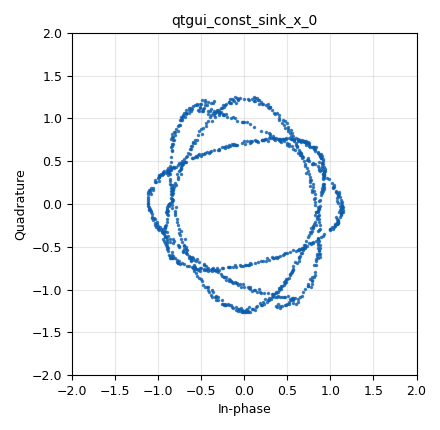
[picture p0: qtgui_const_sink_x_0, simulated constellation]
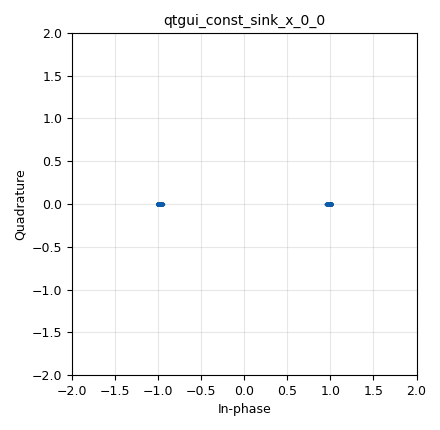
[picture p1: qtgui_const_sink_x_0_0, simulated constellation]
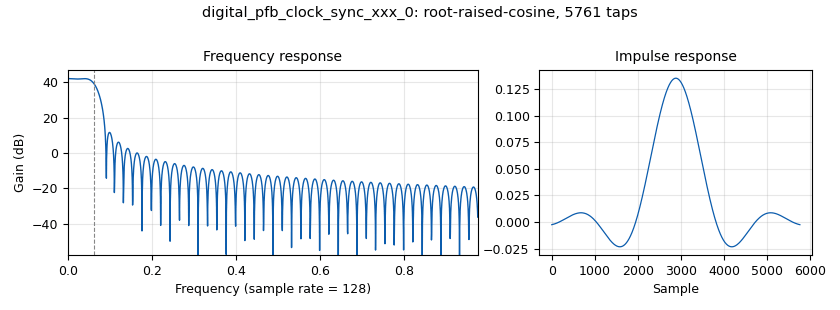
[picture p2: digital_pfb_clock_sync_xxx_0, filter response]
<?xml version='1.0' encoding='utf-8'?>
<?grc format='1' created='3.7.10'?>
<flow_graph>
<block>
<key>options</key>
<param><key>id</key><value>top_block</value></param>
<param><key>generate_options</key><value>qt_gui</value></param>
</block>
<block>
<key>variable_constellation</key>
<param><key>id</key><value>BPSK</value></param>
<param><key>const_points</key><value>[-1, 1]</value></param>
<param><key>type</key><value>calcdist</value></param>
<param><key>dims</key><value>1</value></param>
<param><key>rot_sym</key><value>4</value></param>
<param><key>precision</key><value>8</value></param>
<param><key>sym_map</key><value>[0, 1]</value></param>
</block>
<block>
<key>variable</key>
<param><key>id</key><value>freq_offset</value></param>
<param><key>value</key><value>0</value></param>
</block>
<block>
<key>variable</key>
<param><key>id</key><value>nfilts</value></param>
<param><key>value</key><value>128</value></param>
</block>
<block>
<key>variable_qtgui_range</key>
<param><key>id</key><value>noise_voltage</value></param>
<param><key>value</key><value>.063</value></param>
<param><key>gui_hint</key><value>0,1,1,1</value></param>
<param><key>orient</key><value>Qt.Horizontal</value></param>
<param><key>start</key><value>0.0</value></param>
<param><key>step</key><value>.001</value></param>
<param><key>stop</key><value>1</value></param>
</block>
<block>
<key>variable</key>
<param><key>id</key><value>rrc_taps</value></param>
<param><key>value</key><value>firdes.root_raised_cosine(nfilts, nfilts, 1.0/float(sps), 0.35, 45*nfilts)</value></param>
</block>
<block>
<key>variable</key>
<param><key>id</key><value>samp_rate</value></param>
<param><key>value</key><value>32000</value></param>
</block>
<block>
<key>variable</key>
<param><key>id</key><value>sps</value></param>
<param><key>value</key><value>8</value></param>
</block>
<block>
<key>variable_qtgui_range</key>
<param><key>id</key><value>timing_loop_bandwidth</value></param>
<param><key>value</key><value>.063</value></param>
<param><key>gui_hint</key><value>0,0,1,1</value></param>
<param><key>orient</key><value>Qt.Horizontal</value></param>
<param><key>start</key><value>.001</value></param>
<param><key>step</key><value>.001</value></param>
<param><key>stop</key><value>.2</value></param>
</block>
<block>
<key>analog_random_source_x</key>
<param><key>id</key><value>analog_random_source_x_0</value></param>
<param><key>max</key><value>256</value></param>
<param><key>min</key><value>0</value></param>
<param><key>num_samps</key><value>1000</value></param>
<param><key>type</key><value>byte</value></param>
<param><key>repeat</key><value>True</value></param>
</block>
<block>
<key>blocks_throttle</key>
<param><key>id</key><value>blocks_throttle_0</value></param>
<param><key>samples_per_second</key><value>samp_rate</value></param>
<param><key>type</key><value>byte</value></param>
</block>
<block>
<key>blocks_unpacked_to_packed_xx</key>
<param><key>id</key><value>blocks_unpacked_to_packed_xx_0</value></param>
<param><key>bits_per_chunk</key><value>1</value></param>
<param><key>_enabled</key><value>0</value></param>
<param><key>endianness</key><value>gr.GR_MSB_FIRST</value></param>
<param><key>type</key><value>byte</value></param>
</block>
<block>
<key>blocks_vector_source_x</key>
<param><key>id</key><value>blocks_vector_source_x_0_0_0</value></param>
<param><key>_enabled</key><value>0</value></param>
<param><key>type</key><value>byte</value></param>
<param><key>repeat</key><value>True</value></param>
<param><key>vector</key><value>(1,0,1,1,0)</value></param>
</block>
<block>
<key>channels_fading_model</key>
<param><key>id</key><value>channels_fading_model_0</value></param>
<param><key>LOS</key><value>True</value></param>
<param><key>fDTs</key><value>10.0/samp_rate</value></param>
<param><key>N</key><value>8</value></param>
<param><key>K</key><value>10</value></param>
<param><key>seed</key><value>0</value></param>
</block>
<block>
<key>digital_constellation_modulator</key>
<param><key>id</key><value>digital_constellation_modulator_0</value></param>
<param><key>constellation</key><value>BPSK</value></param>
<param><key>differential</key><value>False</value></param>
<param><key>excess_bw</key><value>0.35</value></param>
<param><key>samples_per_symbol</key><value>sps</value></param>
</block>
<block>
<key>digital_pfb_clock_sync_xxx</key>
<param><key>id</key><value>digital_pfb_clock_sync_xxx_0</value></param>
<param><key>filter_size</key><value>nfilts</value></param>
<param><key>init_phase</key><value>nfilts/2</value></param>
<param><key>loop_bw</key><value>timing_loop_bandwidth</value></param>
<param><key>max_dev</key><value>1.5</value></param>
<param><key>osps</key><value>1</value></param>
<param><key>sps</key><value>sps</value></param>
<param><key>taps</key><value>rrc_taps</value></param>
<param><key>type</key><value>ccf</value></param>
</block>
<block>
<key>digital_pfb_clock_sync_xxx</key>
<param><key>id</key><value>digital_pfb_clock_sync_xxx_0_0</value></param>
<param><key>filter_size</key><value>nfilts</value></param>
<param><key>init_phase</key><value>nfilts/2</value></param>
<param><key>loop_bw</key><value>timing_loop_bandwidth</value></param>
<param><key>max_dev</key><value>1.5</value></param>
<param><key>osps</key><value>1</value></param>
<param><key>sps</key><value>sps</value></param>
<param><key>taps</key><value>rrc_taps</value></param>
<param><key>type</key><value>ccf</value></param>
</block>
<block>
<key>qtgui_const_sink_x</key>
<param><key>id</key><value>qtgui_const_sink_x_0</value></param>
<param><key>grid</key><value>True</value></param>
<param><key>size</key><value>1024</value></param>
<param><key>type</key><value>complex</value></param>
</block>
<block>
<key>qtgui_const_sink_x</key>
<param><key>id</key><value>qtgui_const_sink_x_0_0</value></param>
<param><key>grid</key><value>True</value></param>
<param><key>size</key><value>1024</value></param>
<param><key>type</key><value>complex</value></param>
</block>
<block>
<key>virtual_sink</key>
<param><key>id</key><value>virtual_sink_0</value></param>
<param><key>stream_id</key><value>mod_output</value></param>
</block>
<block>
<key>virtual_source</key>
<param><key>id</key><value>virtual_source_0</value></param>
<param><key>stream_id</key><value>mod_output</value></param>
</block>
<connection><source_block_id>analog_random_source_x_0</source_block_id><sink_block_id>blocks_throttle_0</sink_block_id><source_key>0</source_key><sink_key>0</sink_key></connection>
<connection><source_block_id>blocks_throttle_0</source_block_id><sink_block_id>digital_constellation_modulator_0</sink_block_id><source_key>0</source_key><sink_key>0</sink_key></connection>
<connection><source_block_id>blocks_unpacked_to_packed_xx_0</source_block_id><sink_block_id>blocks_throttle_0</sink_block_id><source_key>0</source_key><sink_key>0</sink_key></connection>
<connection><source_block_id>blocks_vector_source_x_0_0_0</source_block_id><sink_block_id>blocks_unpacked_to_packed_xx_0</sink_block_id><source_key>0</source_key><sink_key>0</sink_key></connection>
<connection><source_block_id>channels_fading_model_0</source_block_id><sink_block_id>digital_pfb_clock_sync_xxx_0_0</sink_block_id><source_key>0</source_key><sink_key>0</sink_key></connection>
<connection><source_block_id>digital_constellation_modulator_0</source_block_id><sink_block_id>digital_pfb_clock_sync_xxx_0</sink_block_id><source_key>0</source_key><sink_key>0</sink_key></connection>
<connection><source_block_id>digital_constellation_modulator_0</source_block_id><sink_block_id>virtual_sink_0</sink_block_id><source_key>0</source_key><sink_key>0</sink_key></connection>
<connection><source_block_id>digital_pfb_clock_sync_xxx_0</source_block_id><sink_block_id>qtgui_const_sink_x_0_0</sink_block_id><source_key>0</source_key><sink_key>0</sink_key></connection>
<connection><source_block_id>digital_pfb_clock_sync_xxx_0_0</source_block_id><sink_block_id>qtgui_const_sink_x_0</sink_block_id><source_key>0</source_key><sink_key>0</sink_key></connection>
<connection><source_block_id>virtual_source_0</source_block_id><sink_block_id>channels_fading_model_0</sink_block_id><source_key>0</source_key><sink_key>0</sink_key></connection>
</flow_graph>
